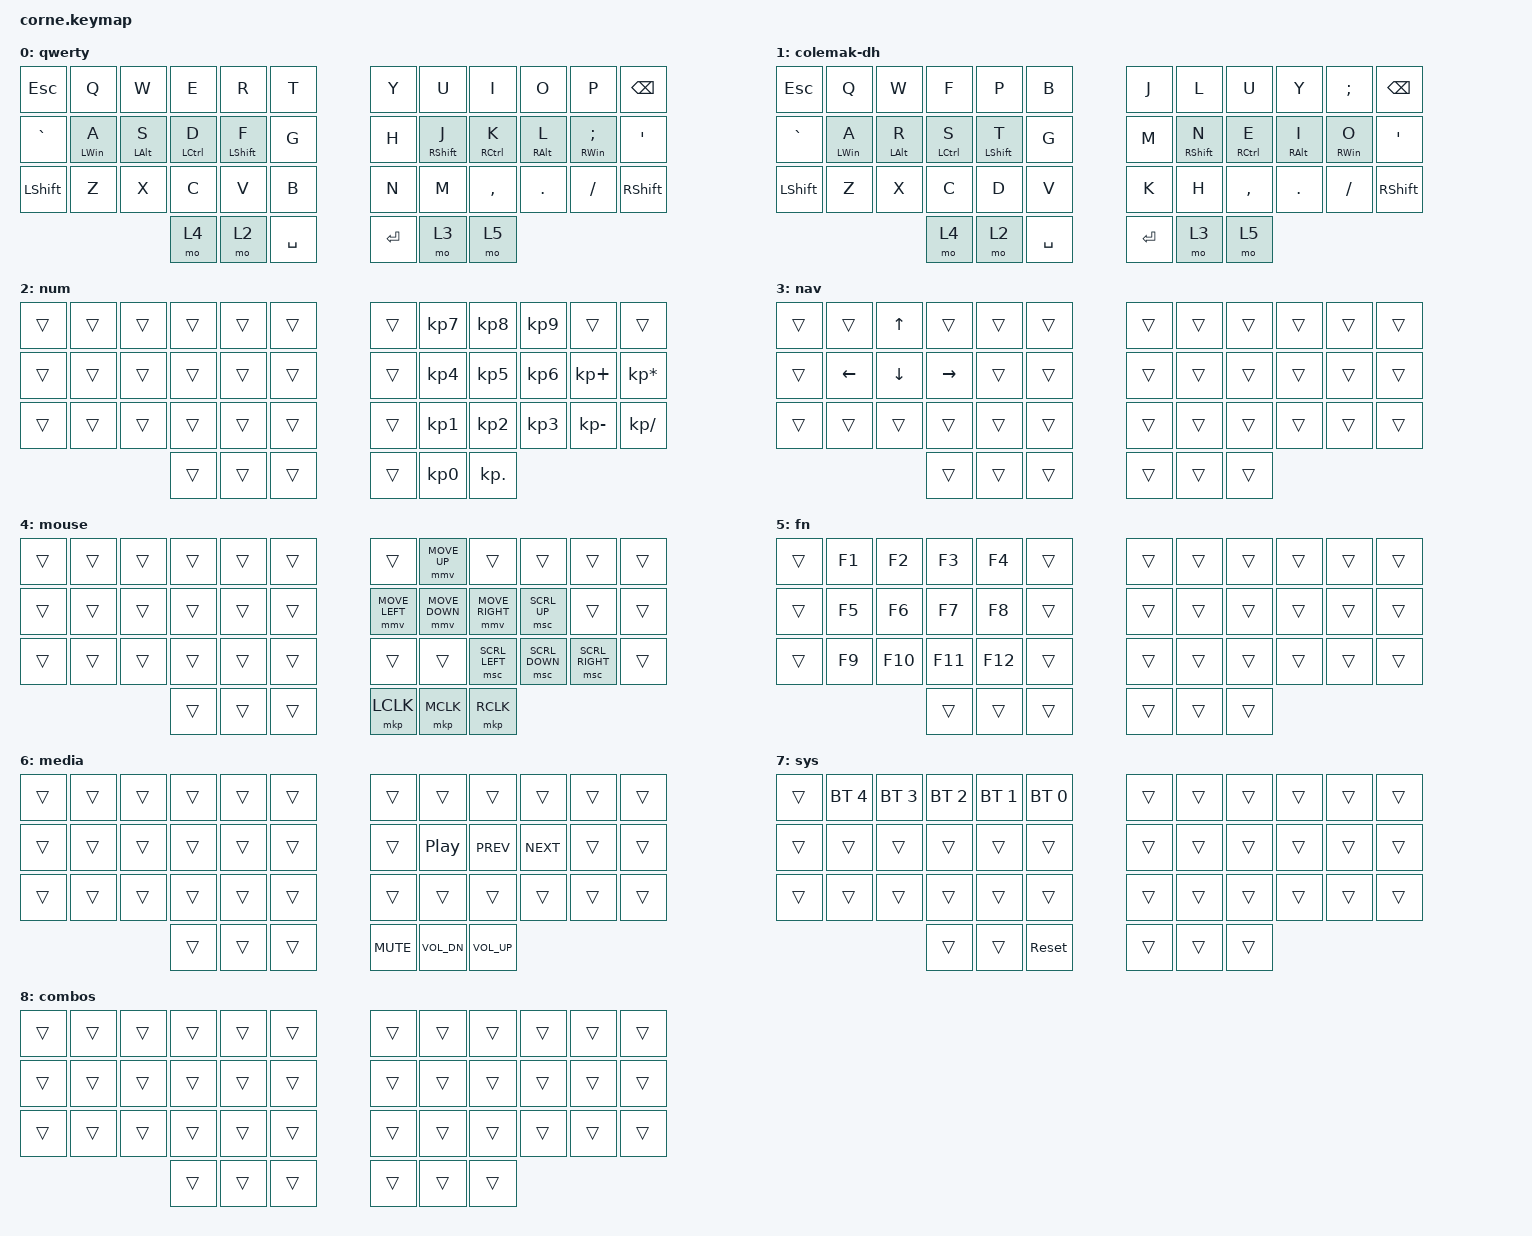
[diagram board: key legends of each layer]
/*
 * Copyright (c) 2020 The ZMK Contributors
 *
 * SPDX-License-Identifier: MIT
 */
/* 
 * Override default movement/scrolling max velocities.
 * https://zmk.dev/docs/keymaps/behaviors/mouse-emulation#mouse-emulation-defines
 */
// #define ZMK_POINTING_DEFAULT_MOVE_VAL 1500  // default: 600
// #define ZMK_POINTING_DEFAULT_SCRL_VAL 20    // default: 10

#include <behaviors.dtsi>
#include <dt-bindings/zmk/bt.h>
#include <dt-bindings/zmk/keys.h>
#include <dt-bindings/zmk/pointing.h>

/ {
    combos {
        compatible = "zmk,combos";

        tog-colemak-dh {
            bindings = <&tog 1>;
            key-positions = <38 39>;
        };

        kp-capslock {
            bindings = <&kp CAPSLOCK>;
            key-positions = <24 35>;
        };

        mo-media {
            bindings = <&mo 6>;
            key-positions = <36 37>;
        };

        mo-sys {
            bindings = <&mo 7>;
            key-positions = <41 40>;
        };

        kp-exclamation {
            bindings = <&kp EXCLAMATION>;
            key-positions = <1 13>;
        };

        kp-at_sign {
            bindings = <&kp AT_SIGN>;
            key-positions = <2 14>;
        };

        kp-pound {
            bindings = <&kp POUND>;
            key-positions = <15 3>;
        };

        kp-doller {
            bindings = <&kp DOLLAR>;
            key-positions = <4 16>;
        };

        kp-percent {
            bindings = <&kp PERCENT>;
            key-positions = <5 17>;
        };

        kp-caret {
            bindings = <&kp CARET>;
            key-positions = <6 18>;
        };

        kp-ampersand {
            bindings = <&kp AMPERSAND>;
            key-positions = <7 19>;
        };

        kp-asterisk {
            bindings = <&kp ASTERISK>;
            key-positions = <8 20>;
        };

        kp-lpar {
            bindings = <&kp LPAR>;
            key-positions = <9 21>;
        };

        kp-rpar {
            bindings = <&kp RPAR>;
            key-positions = <10 22>;
        };

        kp_under {
            bindings = <&kp UNDER>;
            key-positions = <13 25>;
        };

        kp-plus {
            bindings = <&kp PLUS>;
            key-positions = <26 14>;
        };

        kp-lbrc {
            bindings = <&kp LBRC>;
            key-positions = <15 27>;
        };

        kp-rbrc {
            bindings = <&kp RBRC>;
            key-positions = <28 16>;
        };

        kp-pipe {
            bindings = <&kp PIPE>;
            key-positions = <17 29>;
        };

        kp-minus {
            bindings = <&kp KP_MINUS>;
            key-positions = <18 30>;
        };

        kp-equals {
            bindings = <&kp KP_EQUAL>;
            key-positions = <19 31>;
        };

        kp-lbkt {
            bindings = <&kp LBKT>;
            key-positions = <32 20>;
        };

        kp-rbkt {
            bindings = <&kp RBKT>;
            key-positions = <33 21>;
        };

        kp-backslash {
            bindings = <&kp BACKSLASH>;
            key-positions = <22 34>;
        };

        kp-tab {
            bindings = <&kp TAB>;
            key-positions = <1 2>;
        };

        cut {
            bindings = <&kp LC(X)>;
            key-positions = <25 26>;
        };

        copy {
            bindings = <&kp LC(C)>;
            key-positions = <26 27>;
        };

        paste {
            bindings = <&kp LC(V)>;
            key-positions = <27 28>;
        };
    };

    behaviors {
        hml: hml {
            compatible = "zmk,behavior-hold-tap";
            label = "Homerow Mod Left";
            bindings = <&kp>, <&kp>;

            #binding-cells = <2>;
            tapping-term-ms = <280>;
            quick-tap-ms = <175>;
            require-prior-idle-ms = <150>;
            flavor = "balanced";
            hold-trigger-key-positions = <36 37 38 39 40 41 6 7 8 9 10 11 18 19 20 21 22 23 30 31 32 33 34 35 40 41>;
            hold-trigger-on-release;
        };

        hmr: hmr {
            compatible = "zmk,behavior-hold-tap";
            label = "Homerow Mod Right";
            bindings = <&kp>, <&kp>;

            #binding-cells = <2>;
            tapping-term-ms = <280>;
            quick-tap-ms = <175>;
            require-prior-idle-ms = <150>;
            flavor = "balanced";
            hold-trigger-key-positions = <36 37 38 39 40 41 0 1 2 3 4 5 12 13 14 15 16 17 24 25 26 27 28 29 38>;
            hold-trigger-on-release;
        };
    };

    keymap {
        compatible = "zmk,keymap";

        qwerty {
            bindings = <
&kp ESC    &kp Q        &kp W        &kp E         &kp R         &kp T        &kp Y      &kp U         &kp I         &kp O        &kp P           &kp BSPC
&kp GRAVE  &hml LWIN A  &hml LALT S  &hml LCTRL D  &hml LSHFT F  &kp G        &kp H      &hmr RSHFT J  &hmr RCTRL K  &hmr RALT L  &hmr RWIN SEMI  &kp APOS
&kp LSHFT  &kp Z        &kp X        &kp C         &kp V         &kp B        &kp N      &kp M         &kp COMMA     &kp DOT      &kp FSLH        &kp RSHFT
                                     &mo 4         &mo 2         &kp SPACE    &kp ENTER  &mo 3         &mo 5
            >;
        };

        colemak-dh {
            bindings = <
&kp ESC    &kp Q        &kp W        &kp F         &kp P         &kp B        &kp J      &kp L         &kp U         &kp Y        &kp SEMI     &kp BSPC
&kp GRAVE  &hml LWIN A  &hml LALT R  &hml LCTRL S  &hml LSHFT T  &kp G        &kp M      &hmr RSHFT N  &hmr RCTRL E  &hmr RALT I  &hmr RWIN O  &kp APOS
&kp LSHFT  &kp Z        &kp X        &kp C         &kp D         &kp V        &kp K      &kp H         &kp COMMA     &kp DOT      &kp FSLH     &kp RSHFT
                                     &mo 4         &mo 2         &kp SPACE    &kp ENTER  &mo 3         &mo 5
            >;
        };

        num {
            bindings = <
&trans  &trans  &trans  &trans  &trans  &trans    &trans  &kp KP_N7  &kp KP_N8   &kp KP_N9  &trans        &trans
&trans  &trans  &trans  &trans  &trans  &trans    &trans  &kp KP_N4  &kp KP_N5   &kp KP_N6  &kp KP_PLUS   &kp KP_MULTIPLY
&trans  &trans  &trans  &trans  &trans  &trans    &trans  &kp KP_N1  &kp KP_N2   &kp KP_N3  &kp KP_MINUS  &kp KP_DIVIDE
                        &trans  &trans  &trans    &trans  &kp KP_N0  &kp KP_DOT
            >;
        };

        nav {
            bindings = <
&trans  &trans    &kp UP    &trans     &trans  &trans    &trans  &trans  &trans  &trans  &trans  &trans
&trans  &kp LEFT  &kp DOWN  &kp RIGHT  &trans  &trans    &trans  &trans  &trans  &trans  &trans  &trans
&trans  &trans    &trans    &trans     &trans  &trans    &trans  &trans  &trans  &trans  &trans  &trans
                            &trans     &trans  &trans    &trans  &trans  &trans
            >;
        };

        mouse {
            bindings = <
&trans  &trans  &trans  &trans  &trans  &trans    &trans          &mmv MOVE_UP    &trans           &trans          &trans           &trans
&trans  &trans  &trans  &trans  &trans  &trans    &mmv MOVE_LEFT  &mmv MOVE_DOWN  &mmv MOVE_RIGHT  &msc SCRL_UP    &trans           &trans
&trans  &trans  &trans  &trans  &trans  &trans    &trans          &trans          &msc SCRL_LEFT   &msc SCRL_DOWN  &msc SCRL_RIGHT  &trans
                        &trans  &trans  &trans    &mkp LCLK       &mkp MCLK       &mkp RCLK
            >;
        };

        fn {
            bindings = <
&trans  &kp F1  &kp F2   &kp F3   &kp F4   &trans    &trans  &trans  &trans  &trans  &trans  &trans
&trans  &kp F5  &kp F6   &kp F7   &kp F8   &trans    &trans  &trans  &trans  &trans  &trans  &trans
&trans  &kp F9  &kp F10  &kp F11  &kp F12  &trans    &trans  &trans  &trans  &trans  &trans  &trans
                         &trans   &trans   &trans    &trans  &trans  &trans
            >;
        };

        media {
            bindings = <
&trans  &trans  &trans  &trans  &trans  &trans    &trans      &trans            &trans        &trans      &trans  &trans
&trans  &trans  &trans  &trans  &trans  &trans    &trans      &kp C_PLAY_PAUSE  &kp C_PREV    &kp C_NEXT  &trans  &trans
&trans  &trans  &trans  &trans  &trans  &trans    &trans      &trans            &trans        &trans      &trans  &trans
                        &trans  &trans  &trans    &kp C_MUTE  &kp C_VOL_DN      &kp C_VOL_UP
            >;
        };

        sys {
            bindings = <
&trans  &bt BT_SEL 4  &bt BT_SEL 3  &bt BT_SEL 2  &bt BT_SEL 1  &bt BT_SEL 0    &trans  &trans  &trans  &trans  &trans  &trans
&trans  &trans        &trans        &trans        &trans        &trans          &trans  &trans  &trans  &trans  &trans  &trans
&trans  &trans        &trans        &trans        &trans        &trans          &trans  &trans  &trans  &trans  &trans  &trans
                                    &trans        &trans        &sys_reset      &trans  &trans  &trans
            >;
        };

        combos {
            bindings = <
&trans  &trans  &trans  &trans  &trans  &trans    &trans  &trans  &trans  &trans  &trans  &trans
&trans  &trans  &trans  &trans  &trans  &trans    &trans  &trans  &trans  &trans  &trans  &trans
&trans  &trans  &trans  &trans  &trans  &trans    &trans  &trans  &trans  &trans  &trans  &trans
                        &trans  &trans  &trans    &trans  &trans  &trans
            >;
        };
    };
};
